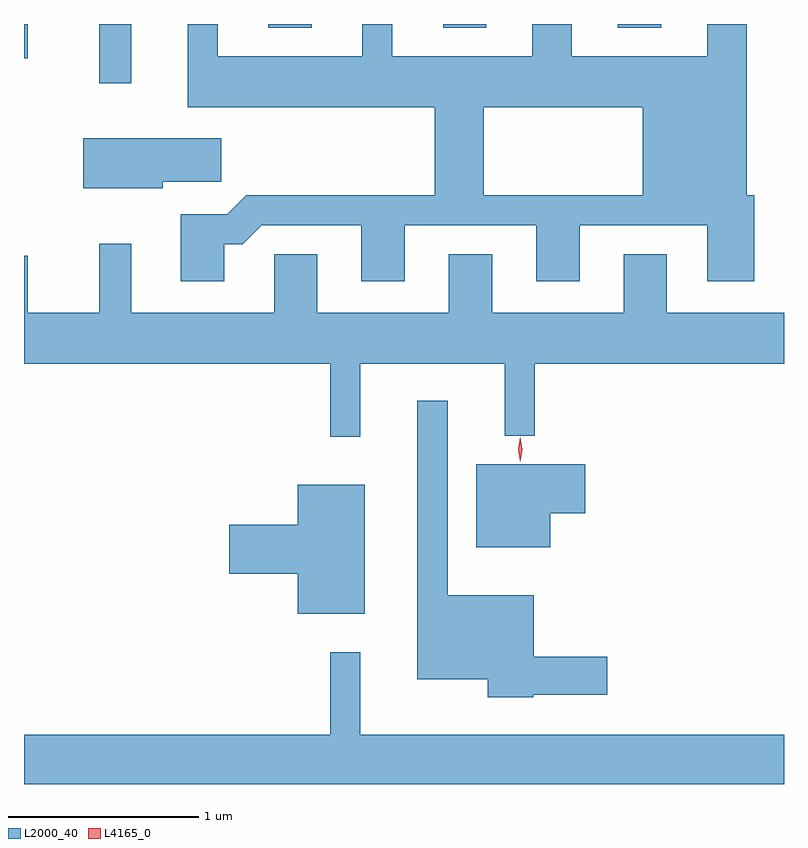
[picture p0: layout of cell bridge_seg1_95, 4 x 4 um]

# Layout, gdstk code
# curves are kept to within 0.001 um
import gdstk
lib = gdstk.Library(unit=1e-6, precision=1e-09)
def R(c, l, rs):  # rectangles x0, y0, x1, y1
    for r in rs: c.add(gdstk.rectangle(r[:2], r[2:], *l))
def A(c, l, x, y, w, h, nx, ny, dx, dy):  # array of equal rectangles
    R(c, l, [(x+i*dx, y+j*dy, x+i*dx+w, y+j*dy+h) for i in range(nx) for j in range(ny)])
def P(c, l, *ps):  # polygons
    for p in ps: c.add(gdstk.Polygon(p, *l))
L2000_40 = (2000, 40)
L4165_0 = (4165, 0)

bridge_seg1_95 = lib.new_cell('bridge_seg1_95')
A(bridge_seg1_95, L2000_40, 1135.691, 959.066, 0.228, 0.019, 3, 1, 0.92, 0)
R(bridge_seg1_95, L2000_40, [(1134.801,958.773,1134.969,959.085), (1134.405,958.906,1134.424,959.085)])
P(bridge_seg1_95, L2000_40, [(1135.459,957.926),(1135.557,957.926),(1135.657,958.026),(1136.181,958.026),(1136.181,957.731),(1136.409,957.731),(1136.409,958.026),(1137.101,958.026),(1137.101,957.731),(1137.329,957.731),(1137.329,958.026),(1138.001,958.026),(1138.001,957.731),(1138.249,957.731),(1138.249,958.184),(1138.209,958.184),(1138.209,959.085),(1138.001,959.085),(1138.001,958.914),(1137.289,958.914),(1137.289,959.085),(1137.081,959.085),(1137.081,958.914),(1136.344,958.914),(1136.344,959.085),(1136.186,959.085),(1136.186,958.914),(1135.424,958.914),(1135.424,959.085),(1135.266,959.085),(1135.266,958.646),(1136.566,958.646),(1136.566,958.184),(1136.824,958.184),(1136.824,958.646),(1137.661,958.646),(1137.661,958.184),(1135.574,958.184),(1135.474,958.084),(1135.231,958.084),(1135.231,957.731),(1135.459,957.731)],
  [(1135.134,958.256),(1135.444,958.256),(1135.444,958.484),(1134.716,958.484),(1134.716,958.221),(1135.134,958.221)],
  [(1136.174,957.296),(1136.936,957.296),(1136.936,956.918),(1137.094,956.918),(1137.094,957.296),(1138.405,957.296),(1138.405,957.564),(1137.789,957.564),(1137.789,957.874),(1137.561,957.874),(1137.561,957.564),(1136.869,957.564),(1136.869,957.874),(1136.641,957.874),(1136.641,957.564),(1135.949,957.564),(1135.949,957.874),(1135.721,957.874),(1135.721,957.564),(1134.969,957.564),(1134.969,957.928),(1134.801,957.928),(1134.801,957.564),(1134.424,957.564),(1134.424,957.864),(1134.405,957.864),(1134.405,957.296),(1136.016,957.296),(1136.016,956.913),(1136.174,956.913)],
  [(1137.085,955.556),(1137.474,955.556),(1137.474,955.754),(1137.089,955.754),(1137.089,956.079),(1136.634,956.079),(1136.634,957.103),(1136.476,957.103),(1136.476,955.636),(1136.846,955.636),(1136.846,955.541),(1137.085,955.541)],
  [(1137.174,956.511),(1137.359,956.511),(1137.359,956.769),(1136.786,956.769),(1136.786,956.331),(1137.174,956.331)],
  [(1136.199,956.659),(1135.846,956.659),(1135.846,956.449),(1135.486,956.449),(1135.486,956.191),(1135.846,956.191),(1135.846,955.981),(1136.199,955.981)],
  [(1138.405,955.344),(1136.174,955.344),(1136.174,955.778),(1136.016,955.778),(1136.016,955.344),(1134.405,955.344),(1134.405,955.085),(1138.405,955.085)])
P(bridge_seg1_95, L4165_0, [(1137.017,956.78),(1137.016,956.781),(1137.007,956.846),(1137.016,956.911),(1137.017,956.911),(1137.017,956.911),(1137.027,956.846),(1137.017,956.781)])

lib.write_gds('bridge_seg1_95.gds')
